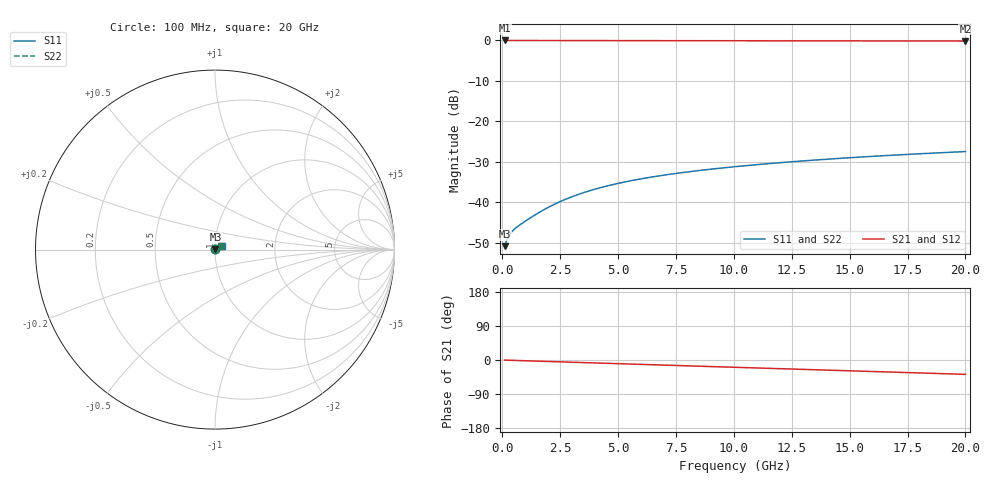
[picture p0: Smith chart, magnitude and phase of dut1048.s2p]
! Touchstone file exported from HFSS 2026.1.0
!  File:  C:/ffzhzh/LocalFiles/Ansys_Project_Files/temp_train_BSMRDL_1048_1783173895_18472.aedt
!  Generated:  10:05:59 PM Jul  4, 2026
!  Design:  BSMRDL
!  Project:  temp_train_BSMRDL_1048_1783173895_18472
! Variables:
!  h_bsmrdl = 4.41um
!  h_ox = 20um
!  h_rdl = 5um
!  h_sub = 80um
!  h_tmrdl = 5um
!  h_tsv = 80um
!  h_via = 3um
!  l_bsmrdl = 674.23um
!  l_sub = 1074.23um
!  l_tmrdl = 200um
!  m_sub = 200um
!  pitch = 27.58um
!  r_tsv = 6um
!  s_tmrdl = 10um
!  w_bsmrdl = 21.99um
!  w_sub = 500um
!  w_tmrdl = 12um
!  x_tsv_center1 = 206um
!  x_tsv_center2 = 902.22um
!  x_tsv_center3 = 1114.22um
!  x_tsv_center4 = 1810.44um
!  x_tsv_center5 = 2022.44um
!  x_tsv_center6 = 2718.66um
# GHz S MA R 50.000000
! Terminal data exported
! Port[1] = BSM_RDL1_1_T1
! Port[2] = BSM_RDL1_1_T2
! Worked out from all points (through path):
!   200 points, 100 MHz to 20 GHz, reference 50 ohm
!   highest |S21| = -0.02 dB at 100 MHz (marker M1); lowest = -0.2 dB at 20 GHz (marker M2)
!   group delay of S21, straight-line fit = 5.24 ps
!   lowest |S11| = -50.9 dB at 100 MHz (marker M3), VSWR 1.01, Z = 50.3 + j0.0856 ohm
!   |S11| at or under -10 dB: start of sweep to end of sweep
!   |S22| runs from -50.9 to -27.6 dB; largest |S21 - S12| = 3e-15
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0.1  0.002867 17.3  0.9973 -0.2  0.9973 -0.2  0.002867 17.3
! Gamma 0 0 0 0
! Port Impedance 50 0 50 0
0.2  0.003432 25.2  0.9969 -0.4  0.9969 -0.4  0.003421 24.5
0.3  0.003918 28.3  0.9966 -0.6  0.9966 -0.6  0.003865 27.6
0.4  0.00429 30.2  0.9963 -0.8  0.9963 -0.8  0.004201 29.7
0.5  0.004592 31.9  0.9961 -1.0  0.9961 -1.0  0.004481 31.8
0.6  0.004858 33.7  0.996 -1.2  0.996 -1.2  0.004738 33.9
0.9  0.005606 38.9  0.9957 -1.8  0.9957 -1.8  0.005507 39.8
1.5  0.007225 46.8  0.9953 -3.0  0.9953 -3.0  0.007207 47.8
2.1  0.00899 51.0  0.9948 -4.2  0.9948 -4.2  0.009016 51.7
2.4  0.009889 52.1  0.9946 -4.7  0.9946 -4.7  0.009921 52.7
2.8  0.01108 53.0  0.9942 -5.5  0.9942 -5.5  0.01111 53.4
3.5  0.01311 53.4  0.9934 -6.9  0.9934 -6.9  0.01312 53.7
4.2  0.01504 52.9  0.9927 -8.2  0.9927 -8.2  0.01501 53.2
5  0.0171 51.9  0.9918 -9.7  0.9918 -9.7  0.01705 52.3
5.9  0.01925 50.4  0.9908 -11.5  0.9908 -11.5  0.01917 51.0
6.8  0.02124 48.9  0.9899 -13.2  0.9899 -13.2  0.02114 49.6
8.3  0.02429 46.3  0.9886 -16.0  0.9886 -16.0  0.02414 47.2
10.1  0.02761 43.3  0.9871 -19.4  0.9871 -19.4  0.02739 44.4
11.7  0.03034 40.7  0.986 -22.4  0.986 -22.4  0.03005 42.0
13.4  0.03306 38.0  0.9849 -25.5  0.9849 -25.5  0.0327 39.5
16.7  0.03792 32.6  0.9829 -31.7  0.9829 -31.7  0.03739 34.6
20  0.04226 27.2  0.9812 -37.9  0.9812 -37.9  0.04154 29.7
